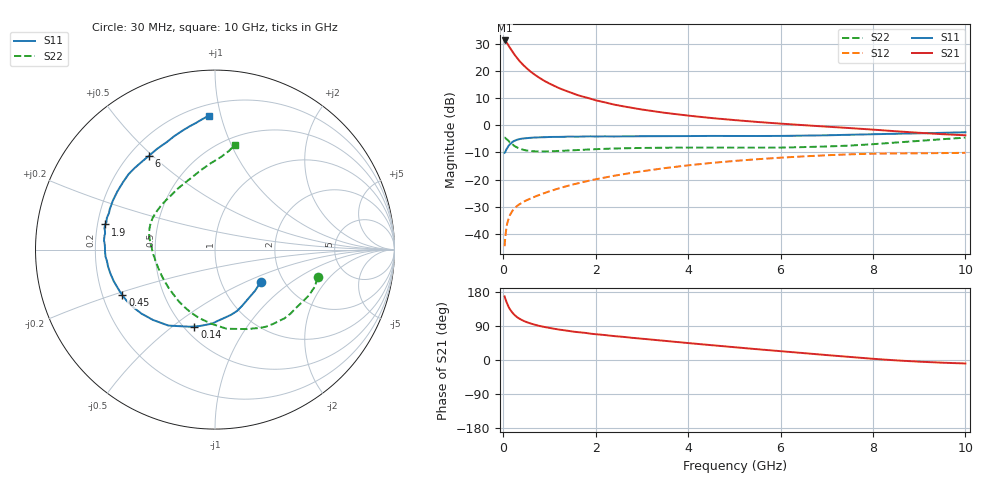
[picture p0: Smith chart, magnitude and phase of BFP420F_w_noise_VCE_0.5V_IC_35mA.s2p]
! Infineon Technologies  Discrete & RF Semiconductors
! BFP420F
! VCE =  0.5 V,  IC =  35 mA
! Common Emitter S-Parameters:  Sep 2011
# GHz  S  MA  R  50
!  f  S11  S21  S12  S22
! GHz  MAG  ANG  MAG  ANG  MAG  ANG  MAG  ANG
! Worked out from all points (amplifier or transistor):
!   54 points, 30 MHz to 10 GHz, reference 50 ohm
!   highest |S21| = 31.4 dB at 30 MHz (marker M1)
!   |S21| within 3 dB of that: start of sweep to 156.6 MHz
!   unconditionally stable (mu >= 1): start of sweep to 43.48 MHz; 851.9 MHz to end of sweep
!   at 120 MHz: K = 0.60, MSG = 31.8 dB, |S12| = -34.2 dB
!   at 1.3 GHz: K = 1.13, MAG = 15.8 dB, |S12| = -22.8 dB
!   at 10 GHz: K = 1.24, MAG = 0.3 dB, |S12| = -10.1 dB
!   lowest NFmin = 1.93 dB at 450 MHz
!   S11 on the Smith chart (normalised r, x): 30 MHz: 1.54, -0.61; 140 MHz: 0.56, -0.60; 450 MHz: 0.28, -0.22; 1.9 GHz: 0.23, +0.11; 6 GHz: 0.28, +0.49; 10 GHz: 0.27, +0.92
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0.03  0.3121 -35.2  36.96 167.8  0.0059 84.5  0.5927 -15.2
0.04  0.3202 -46.0  36.28 163.8  0.0077 80.9  0.593 -20.5
0.06  0.3476 -64.2  34.82 156.8  0.0112 74.8  0.5668 -31.1
0.08  0.3741 -76.1  33.09 150.3  0.0145 72.0  0.5517 -40.5
0.1  0.3979 -88.0  31.32 144.4  0.017 67.9  0.5333 -48.5
0.14  0.4436 -105.0  27.5 135.1  0.0217 62.5  0.4879 -64.2
0.2  0.4965 -121.5  23.01 124.7  0.0266 57.3  0.4459 -81.6
0.25  0.5225 -131.4  19.9 118.3  0.0296 54.9  0.4133 -92.9
0.3  0.543 -138.9  17.55 113.1  0.0326 53.1  0.3911 -103.2
0.35  0.5577 -144.8  15.53 109.1  0.035 52.2  0.3747 -111.4
0.45  0.5755 -153.7  12.63 102.8  0.0393 51.4  0.3522 -124.7
0.6  0.5911 -162.7  9.71 96.1  0.045 52.0  0.336 -139.3
0.9  0.6053 -173.8  6.563 87.0  0.0567 53.7  0.3303 -158.0
1.2  0.6131 178.9  4.906 80.4  0.0686 54.9  0.3378 -169.5
1.7  0.6221 170.3  3.44 72.5  0.0887 55.2  0.3527 178.0
1.9  0.6277 167.1  3.092 69.3  0.0972 54.9  0.3609 174.6
3.5  0.6332 149.1  1.706 50.5  0.1629 47.8  0.3873 158.1
5.5  0.6371 129.9  1.157 28.4  0.2376 32.7  0.3877 135.6
6  0.6394 125.0  1.078 23.3  0.2535 28.7  0.3891 128.6
7  0.6564 114.2  0.948 13.0  0.2811 20.3  0.4081 114.2
8.5  0.7013 101.6  0.779 -1.0  0.304 7.7  0.4828 92.6
10  0.7473 92.6  0.657 -9.2  0.3115 -0.2  0.5949 79.2
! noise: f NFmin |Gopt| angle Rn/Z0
0.45  1.93  0.32  -175  0.1
0.9  1.94  0.34  -172  0.13
1.9  2.07  0.39  -162  0.12
2.4  2.14  0.38  -155  0.13
3.5  2.39  0.37  -143  0.19
